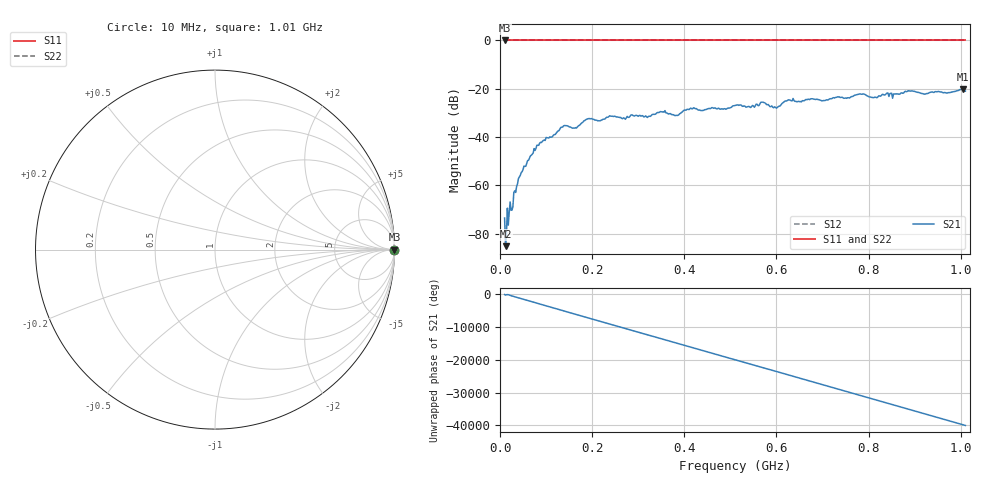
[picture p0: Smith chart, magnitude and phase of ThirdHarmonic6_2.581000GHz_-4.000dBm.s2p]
! 8/17/2025 5:27:49 AM
! C:\ANRITSUVNA\TEMP\TEMP.S2P
! CHANNEL.1
! TR.MEASUREMENT
! RAW.DATA
! RF.CORRECTION.OFF
! AVERAGING.OFF
! IF.BANDWIDTH: 5KHZ
! SWEEPTYPE:  FREQ.SWEEP(Linear)
! Reference Plane Port Info
! PORT:  PORT1  PORT2
! DISTANCE:  0  m  0  m
! TIME:  0  s  0  s
! PHASE.OFFSET:  0  deg.  0  deg.
! LOSS:  0  dB  0  dB
! REF.LOSS:  0  dB  0  dB
! REF.FREQ:  0  Hz  0  Hz
! Power Info
! POWER:  -20  dBm  -20  dBm
! EFF.POWER:  -20  dBm  -20  dBm
! SOURCE.ATTEN:  0  dB  0  dB
! TEST.ATTEN:  0  dB  0  dB
# GHZ S RI R 50.0
! FREQ.GHZ  S11RE  S11IM  S21RE  S21IM  S12RE  S12IM  S22RE  S22IM
!; PortSelection: Port_12
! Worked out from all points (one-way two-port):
!   501 points, 10 MHz to 1.01 GHz, reference 50 ohm
!   highest |S21| = -20.29 dB at 1.004 GHz (marker M1); lowest = -85.2 dB at 12 MHz (marker M2)
!   lowest |S11| = 0.0 dB at 10 MHz (marker M3)
!   |S11| at or under -10 dB: nowhere
!   |S22| runs from 0.0 to 0.0 dB; largest |S21 - S12| = 1.1
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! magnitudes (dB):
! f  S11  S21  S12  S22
! 10 MHz  0.0  -73.5  0.0  0.0
! 12 MHz  0.0  -85.2  0.0  0.0
! 16 MHz  0.0  -69.4  0.0  0.0
! 20 MHz  0.0  -71.1  0.0  0.0
! 22 MHz  0.0  -66.9  0.0  0.0
! 44 MHz  0.0  -55.9  0.0  0.0
! 78 MHz  0.0  -44.7  0.0  0.0
! 136 MHz  0.0  -35.8  0.0  0.0
! 162 MHz  0.0  -36.3  0.0  0.0
! 178 MHz  0.0  -34.1  0.0  0.0
! 194 MHz  0.0  -32.3  0.0  0.0
! 344 MHz  0.0  -29.9  0.0  0.0
! 382 MHz  0.0  -31.0  0.0  0.0
! 416 MHz  0.0  -28.3  0.0  0.0
! 510 MHz  0.0  -26.9  0.0  0.0
! 570 MHz  0.0  -25.5  0.0  0.0
! 598 MHz  0.0  -27.7  0.0  0.0
! 624 MHz  0.0  -24.8  0.0  0.0
! 678 MHz  0.0  -24.1  0.0  0.0
! 844 MHz  0.0  -23.2  0.0  0.0
! 1.004 GHz  0.0  -20.3  0.0  0.0
! 1.01 GHz  0.0  -21.0  0.0  0.0
